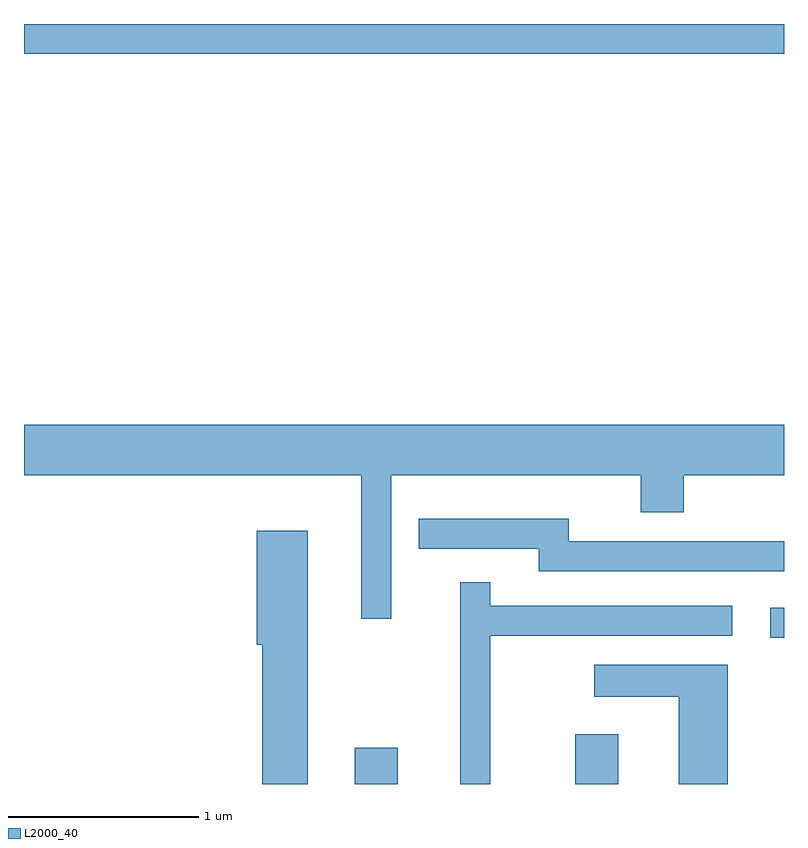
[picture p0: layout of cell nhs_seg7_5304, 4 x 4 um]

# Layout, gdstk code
import gdstk
lib = gdstk.Library(unit=1e-6, precision=1e-09)
def R(c, l, rs):  # rectangles x0, y0, x1, y1
    for r in rs: c.add(gdstk.rectangle(r[:2], r[2:], *l))
def P(c, l, *ps):  # polygons
    for p in ps: c.add(gdstk.Polygon(p, *l))
L2000_40 = (2000, 40)

nhs_seg7_5304 = lib.new_cell('nhs_seg7_5304')
R(nhs_seg7_5304, L2000_40, [(349.351,1708.252,349.579,1708.444), (350.511,1708.252,350.739,1708.514), (351.538,1709.021,351.611,1709.179), (347.611,1712.096,351.611,1712.252)])
P(nhs_seg7_5304, L2000_40, [(349.544,1709.876),(350.856,1709.876),(350.856,1709.681),(351.084,1709.681),(351.084,1709.876),(351.611,1709.876),(351.611,1710.144),(347.611,1710.144),(347.611,1709.876),(349.386,1709.876),(349.386,1709.123),(349.544,1709.123)],
  [(351.611,1709.529),(350.479,1709.529),(350.479,1709.649),(349.688,1709.649),(349.688,1709.491),(350.321,1709.491),(350.321,1709.371),(351.611,1709.371)],
  [(349.104,1709.584),(348.836,1709.584),(348.836,1708.986),(348.866,1708.986),(348.866,1708.252),(349.104,1708.252)],
  [(350.064,1709.031),(351.338,1709.031),(351.338,1709.189),(350.064,1709.189),(350.064,1709.313),(349.906,1709.313),(349.906,1708.252),(350.064,1708.252)],
  [(351.314,1708.879),(350.613,1708.879),(350.613,1708.711),(351.056,1708.711),(351.056,1708.252),(351.314,1708.252)])

lib.write_gds('nhs_seg7_5304.gds')
